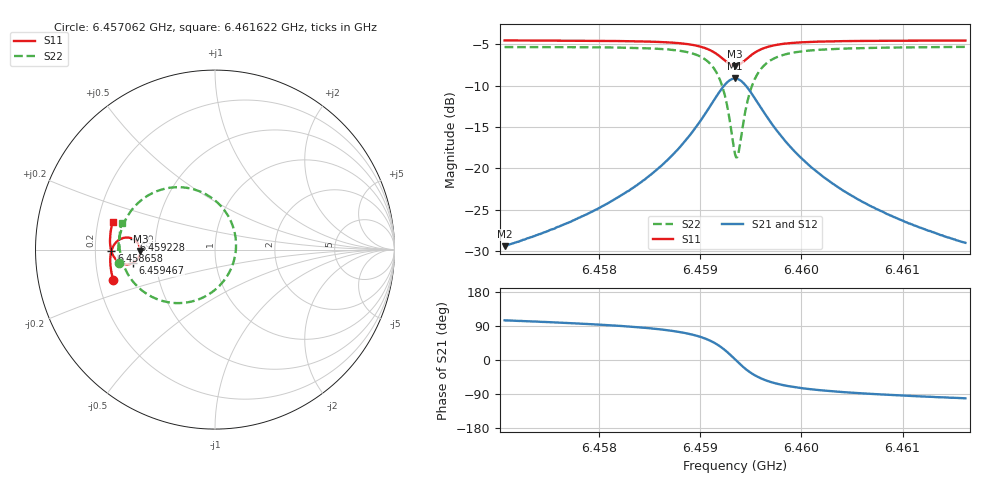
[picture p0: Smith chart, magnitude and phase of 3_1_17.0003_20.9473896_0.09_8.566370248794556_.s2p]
#  HZ  S  RI  R  50.00
! Rohde & Schwarz Vector Network Analyzer
! Rohde-Schwarz,ZNB20-2Port,1311601062101988,3.16
! Created: UTC 3/20/2024, 10:52:08 PM
! freq[Hz]  re:S11  im:S11  re:S21  im:S21  re:S12  im:S12  re:S22  im:S22
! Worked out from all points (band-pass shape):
!   401 points, 6.457062 GHz to 6.461622 GHz, reference 50 ohm
!   highest |S21| = -9.14 dB at 6.459342 GHz (marker M1); lowest = -29.4 dB at 6.457062 GHz (marker M2)
!   |S21| within 3 dB of the highest: 6.459114 GHz to 6.45957 GHz (456.3 kHz wide, 0.00706 % of centre)
!   lowest |S11| = -7.6 dB at 6.459342 GHz (marker M3), VSWR 2.42, Z = 20.6 - j0.389 ohm
!   |S11| at or under -10 dB: nowhere
!   |S22| runs from -18.7 to -5.3 dB; largest |S21 - S12| = 0.014
!   S11 on the Smith chart (normalised r, x): 6.457062 GHz: 0.26, -0.13; 6.458658 GHz: 0.27, -0.01; 6.459228 GHz: 0.38, +0.05; 6.459467 GHz: 0.37, -0.07; 6.461622 GHz: 0.26, +0.12
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6.4570624e9  -0.5677 -0.1669  -0.00862 0.0328  -0.00685 0.0328  -0.5345 -0.0769
6.4578261e9  -0.5812 -0.0999  -0.005 0.0511  -0.00258 0.0503  -0.5385 0.0133
6.4582365e9  -0.5837 -0.0587  0.00074 0.07  0.00414 0.0686  -0.53 0.0784
6.4585898e9  -0.5794 -0.0163  0.0155 0.0996  0.0192 0.0968  -0.5026 0.1582
6.4586582e9  -0.5771 -0.00671  0.0209 0.1082  0.0248 0.1047  -0.4924 0.1781
6.458852e9  -0.5642 0.0236  0.048 0.139  0.052 0.1341  -0.4415 0.2471
6.4590002e9  -0.541 0.0499  0.094 0.1694  0.0972 0.1627  -0.3566 0.311
6.4591369e9  -0.4966 0.067  0.1823 0.1852  0.183 0.1779  -0.1956 0.3477
6.4592281e9  -0.4516 0.0563  0.2727 0.1527  0.2729 0.147  -0.0282 0.2945
6.4592965e9  -0.4224 0.0236  0.333 0.0796  0.3353 0.0743  0.0867 0.1625
6.4593421e9  -0.4156 -0.0078  0.3488 0.0109  0.3527 0.00386  0.1173 0.034
6.4593535e9  -0.416 -0.016  0.3485 -0.00715  0.3525 -0.0149  0.1166 1.07e-05
6.4593763e9  -0.4196 -0.0318  0.3425 -0.0421  0.3464 -0.0513  0.1043 -0.0662
6.4594219e9  -0.4357 -0.0582  0.313 -0.1023  0.3153 -0.1144  0.0447 -0.1794
6.4594675e9  -0.4581 -0.0746  0.2702 -0.1432  0.2693 -0.1566  -0.0421 -0.2538
6.4595587e9  -0.5019 -0.0813  0.1844 -0.1739  0.178 -0.1854  -0.2128 -0.2982
6.4597069e9  -0.5461 -0.0606  0.0957 -0.159  0.0871 -0.1652  -0.3811 -0.2462
6.4598664e9  -0.5678 -0.0328  0.0507 -0.1304  0.0431 -0.1332  -0.461 -0.1726
6.4601058e9  -0.5805 0.0028  0.0217 -0.0982  0.0159 -0.0989  -0.5084 -0.0894
6.4604478e9  -0.5849 0.0437  0.00587 -0.0712  0.00171 -0.0706  -0.5292 -0.00987
6.4608695e9  -0.5829 0.0863  -0.00196 -0.0523  -0.00473 -0.0515  -0.5328 0.0583
6.4616218e9  -0.5707 0.153  -0.00686 -0.0349  -0.00854 -0.0339  -0.5207 0.1478
